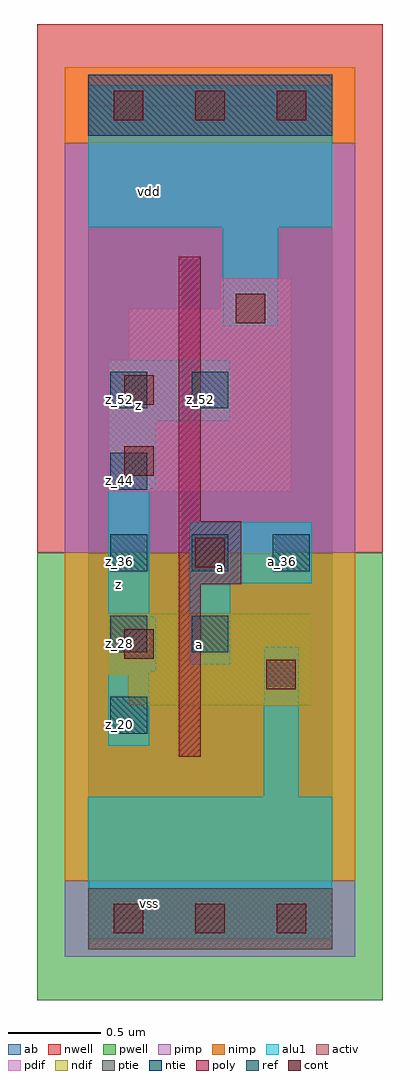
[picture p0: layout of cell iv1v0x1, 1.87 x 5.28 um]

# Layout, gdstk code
import gdstk
lib = gdstk.Library(unit=1e-6, precision=2.5e-09)
def R(c, l, rs):  # rectangles x0, y0, x1, y1
    for r in rs: c.add(gdstk.rectangle(r[:2], r[2:], *l))
def A(c, l, x, y, w, h, nx, ny, dx, dy):  # array of equal rectangles
    R(c, l, [(x+i*dx, y+j*dy, x+i*dx+w, y+j*dy+h) for i in range(nx) for j in range(ny)])
ndif = (3, 0)
pdif = (4, 0)
ntie = (5, 0)
ptie = (6, 0)
ref = (24, 0)
cont = (25, 0)
pwell = (41, 0)
nwell = (42, 0)
activ = (43, 0)
pimp = (44, 0)
nimp = (45, 0)
poly = (46, 0)
alu1 = (49, 0)
ab = (63, 0)

iv1v0x1 = lib.new_cell('iv1v0x1')
R(iv1v0x1, ndif, [(0.22,1.155,1.21,1.32), (0.11,1.32,1.21,1.65)])
R(iv1v0x1, pdif, [(0.11,2.31,1.1,3.025), (0.22,3.025,1.1,3.3), (0.715,3.3,1.1,3.465)])
R(iv1v0x1, ntie, [(0,4.235,1.32,4.565)])
R(iv1v0x1, ptie, [(0,-0.165,1.32,0.165)])
A(iv1v0x1, ref, 0.12, 1.88, 0.2, 0.2, 3, 1, 0.44, 0)
R(iv1v0x1, ref, [(0.12,1,0.32,1.2), (0.12,1.44,0.32,1.64), (0.56,1.44,0.76,1.64), (0.12,2.32,0.32,2.52), (0.12,2.76,0.32,2.96), (0.56,2.76,0.76,2.96)])
A(iv1v0x1, cont, 0.14, -0.08, 0.16, 0.16, 3, 2, 0.44, 4.4)
R(iv1v0x1, cont, [(0.965,1.24,1.125,1.4), (0.195,1.405,0.355,1.565), (0.58,1.9,0.74,2.06), (0.195,2.395,0.355,2.555), (0.195,2.78,0.355,2.94), (0.8,3.22,0.96,3.38)])
R(iv1v0x1, pwell, [(-0.275,-0.44,1.595,1.98)])
R(iv1v0x1, nwell, [(-0.275,1.98,1.595,4.84)])
R(iv1v0x1, activ, [(0,-0.165,1.32,0.165), (0.22,1.155,1.21,1.32), (0.11,1.32,1.21,1.65), (0.11,2.31,1.1,3.025), (0.22,3.025,1.1,3.3), (0.715,3.3,1.1,3.465), (0,4.235,1.32,4.565)])
R(iv1v0x1, pimp, [(-0.125,-0.205,1.445,0.205), (-0.125,1.98,1.445,4.195)])
R(iv1v0x1, nimp, [(-0.125,0.205,1.445,1.98), (-0.125,4.195,1.445,4.605)])
R(iv1v0x1, poly, [(0.49,0.875,0.61,1.81), (0.49,1.81,0.83,2.15), (0.49,2.15,0.61,3.58)])
R(iv1v0x1, alu1, [(0,-0.11,1.32,0.66), (0.95,0.66,1.14,1.47), (0.11,0.935,0.33,1.335), (0.11,1.335,0.37,1.635), (0.55,1.375,0.77,1.815), (0.11,1.635,0.33,2.325), (0.55,1.815,1.21,2.145), (0.11,2.325,0.37,2.695), (0.11,2.695,0.77,3.025), (0.73,3.205,1.03,3.74), (0,3.74,1.32,4.51)])
R(iv1v0x1, ab, [(0,0,1.32,4.4)])
iv1v0x1.add(gdstk.Label('vss', (0.33,0.0825), layer=49, texttype=0))
iv1v0x1.add(gdstk.Label('a', (0.605,1.485), layer=49, texttype=0))
iv1v0x1.add(gdstk.Label('a', (0.715,1.8975), layer=49, texttype=0))
iv1v0x1.add(gdstk.Label('z', (0.165,1.8075), layer=49, texttype=0))
iv1v0x1.add(gdstk.Label('z', (0.275,2.7775), layer=49, texttype=0))
iv1v0x1.add(gdstk.Label('vdd', (0.33,3.9325), layer=49, texttype=0))
iv1v0x1.add(gdstk.Label('z_20', (0.17,1.05), layer=24, texttype=0))
iv1v0x1.add(gdstk.Label('a_28', (0.61,1.49), layer=24, texttype=0))
iv1v0x1.add(gdstk.Label('z_52', (0.17,2.81), layer=24, texttype=0))
iv1v0x1.add(gdstk.Label('z_44', (0.17,2.37), layer=24, texttype=0))
iv1v0x1.add(gdstk.Label('z_36', (0.17,1.93), layer=24, texttype=0))
iv1v0x1.add(gdstk.Label('z_28', (0.17,1.49), layer=24, texttype=0))
iv1v0x1.add(gdstk.Label('a_36', (1.05,1.93), layer=24, texttype=0))
iv1v0x1.add(gdstk.Label('z_52', (0.61,2.81), layer=24, texttype=0))
iv1v0x1.add(gdstk.Label('a_36', (0.61,1.93), layer=24, texttype=0))

lib.write_gds('iv1v0x1.gds')
